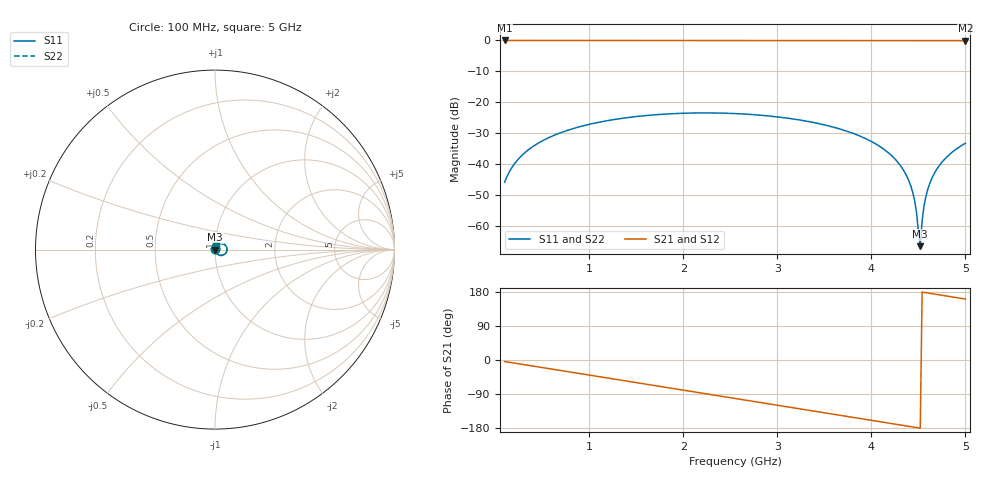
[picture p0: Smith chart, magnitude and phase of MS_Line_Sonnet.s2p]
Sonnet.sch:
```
<Qucs Schematic 25.1.2>
<Properties>
  <View=139,195,585,446,3.5259,0,0>
  <Grid=10,10,1>
  <DataSet=Sonnet.dat>
  <DataDisplay=Sonnet.dpl>
  <OpenDisplay=0>
  <Script=Sonnet.m>
  <RunScript=0>
  <showFrame=0>
  <FrameText0=Title>
  <FrameText1=Drawn By:>
  <FrameText2=Date:>
  <FrameText3=Revision:>
</Properties>
<Symbol>
  <.ID -20 14 SUB>
  <.PortSym -150 0 1 0 P1>
  <.PortSym 160 0 2 180 P2>
  <Text -60 -70 11 #000000 0 "Sonnet (S-par file)">
  <Rectangle -120 -10 250 20 #000000 1 1 #ffaa00 1 1>
  <Line -150 0 30 0 #000000 1 1>
  <Line 130 0 30 0 #000000 1 1>
  <Text -20 -40 15 #000000 0 "50 Ω">
</Symbol>
<Components>
  <GND * 1 290 350 0 0 0 0>
  <Port P1 1 210 360 -23 12 0 0 "1" 1 "analog" 0>
  <Port P2 1 370 360 4 -46 0 2 "2" 1 "analog" 0>
  <SPfile X1 1 290 290 -26 -55 0 0 "MS_Line_Sonnet.s2p" 1 "rectangular" 0 "linear" 0 "open" 0 "2" 0>
</Components>
<Wires>
  <210 350 260 350 "" 0 0 0 "">
  <320 350 370 350 "" 0 0 0 "">
  <370 350 370 360 "" 0 0 0 "">
  <210 350 210 360 "" 0 0 0 "">
  <320 290 320 350 "" 0 0 0 "">
  <290 320 290 350 "" 0 0 0 "">
  <260 290 260 350 "" 0 0 0 "">
</Wires>
<Diagrams>
</Diagrams>
<Paintings>
</Paintings>
```
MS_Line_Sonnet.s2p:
! Sonnet Data File
! From: em Version : 18.53-Lite
! From Project: MS_Line
! Data is De-embedded
! Data File Written: 07/03/2025 19:22:53
!< HDATE 07/03/2025 19:22:48
!< MDATE 07/03/2025 19:22:48
!< PARAMS
!< L1 = 20.0
!< W1 = 1.1
!< END PARAMS
# GHZ S MA R 50.00000
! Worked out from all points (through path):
!   246 points, 100 MHz to 5 GHz, reference 50 ohm
!   highest |S21| = 0.00 dB at 100 MHz (marker M1); lowest = -0.1 dB at 5 GHz (marker M2)
!   group delay of S21, straight-line fit = 111 ps
!   lowest |S11| = -66.7 dB at 4.52 GHz (marker M3), VSWR 1.00, Z = 50 + j0.0214 ohm
!   |S11| at or under -10 dB: start of sweep to end of sweep
!   |S22| runs from -66.7 to -23.5 dB; largest |S21 - S12| = 2.7e-13
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0.1  0.005009 82.9  0.9996 -4.0  0.9996 -4.0  0.005009 82.9
0.36  0.01721 74.4  0.9989 -14.4  0.9989 -14.4  0.01721 74.4
0.84  0.0377 56.1  0.9976 -33.5  0.9976 -33.5  0.0377 56.1
2.56  0.06517 -11.5  0.9939 -101.8  0.9939 -101.8  0.06517 -11.5
4.12  0.01781 -72.3  0.994 -163.9  0.994 -163.9  0.01781 -72.3
4.4  0.005257 -80.3  0.9938 -175.1  0.9938 -175.1  0.005257 -80.3
4.46  0.002549 -77.8  0.9938 -177.5  0.9938 -177.5  0.002549 -77.8
4.52  0.0004626 27.6  0.9937 -179.9  0.9937 -179.9  0.0004627 27.6
4.56  0.002068 77.4  0.9937 178.5  0.9937 178.5  0.002068 77.4
4.64  0.005664 81.5  0.9936 175.3  0.9936 175.3  0.005663 81.5
5  0.02151 70.3  0.993 160.9  0.993 160.9  0.02151 70.3
